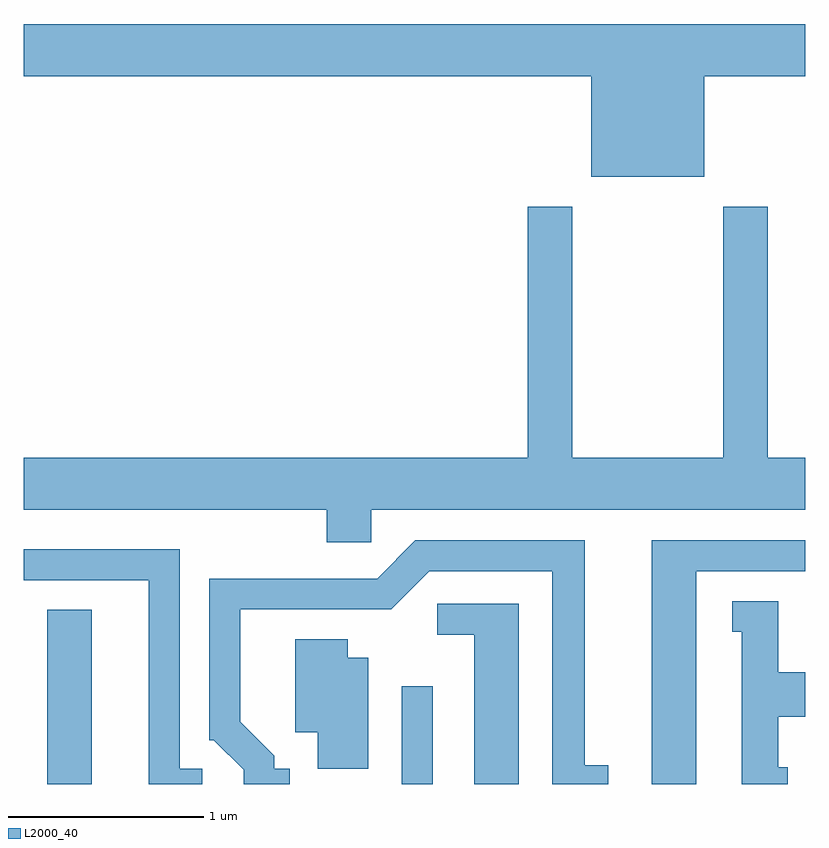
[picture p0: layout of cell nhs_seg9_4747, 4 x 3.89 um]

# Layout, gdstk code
import gdstk
lib = gdstk.Library(unit=1e-6, precision=1e-09)
def R(c, l, rs):  # rectangles x0, y0, x1, y1
    for r in rs: c.add(gdstk.rectangle(r[:2], r[2:], *l))
def P(c, l, *ps):  # polygons
    for p in ps: c.add(gdstk.Polygon(p, *l))
L2000_40 = (2000, 40)

nhs_seg9_4747 = lib.new_cell('nhs_seg9_4747')
R(nhs_seg9_4747, L2000_40, [(325.731,1970.432,325.959,1971.324), (327.546,1970.432,327.704,1970.933)])
P(nhs_seg9_4747, L2000_40, [(329.094,1974.056),(329.611,1974.056),(329.611,1974.324),(325.611,1974.324),(325.611,1974.056),(328.516,1974.056),(328.516,1973.541),(329.094,1973.541)],
  [(327.389,1971.836),(329.611,1971.836),(329.611,1972.104),(329.419,1972.104),(329.419,1973.389),(329.191,1973.389),(329.191,1972.104),(328.419,1972.104),(328.419,1973.389),(328.191,1973.389),(328.191,1972.104),(325.611,1972.104),(325.611,1971.836),(327.161,1971.836),(327.161,1971.671),(327.389,1971.671)],
  [(326.973,1970.509),(326.894,1970.509),(326.894,1970.577),(326.719,1970.752),(326.719,1971.326),(327.492,1971.326),(327.687,1971.521),(328.316,1971.521),(328.316,1970.432),(328.603,1970.432),(328.603,1970.529),(328.484,1970.529),(328.484,1971.679),(327.614,1971.679),(327.419,1971.484),(326.561,1971.484),(326.561,1970.656),(326.584,1970.656),(326.736,1970.504),(326.736,1970.432),(326.973,1970.432)],
  [(329.054,1971.521),(329.611,1971.521),(329.611,1971.679),(328.826,1971.679),(328.826,1970.432),(329.054,1970.432)],
  [(326.523,1970.509),(326.409,1970.509),(326.409,1971.634),(325.611,1971.634),(325.611,1971.476),(326.251,1971.476),(326.251,1970.432),(326.523,1970.432)],
  [(329.523,1970.519),(329.474,1970.519),(329.474,1970.776),(329.611,1970.776),(329.611,1971.004),(329.474,1971.004),(329.474,1971.369),(329.238,1971.369),(329.238,1971.211),(329.286,1971.211),(329.286,1970.432),(329.523,1970.432)],
  [(328.144,1971.354),(327.728,1971.354),(327.728,1971.196),(327.916,1971.196),(327.916,1970.432),(328.144,1970.432)],
  [(327.374,1971.079),(327.269,1971.079),(327.269,1971.174),(327.001,1971.174),(327.001,1970.696),(327.116,1970.696),(327.116,1970.511),(327.374,1970.511)])

lib.write_gds('nhs_seg9_4747.gds')
